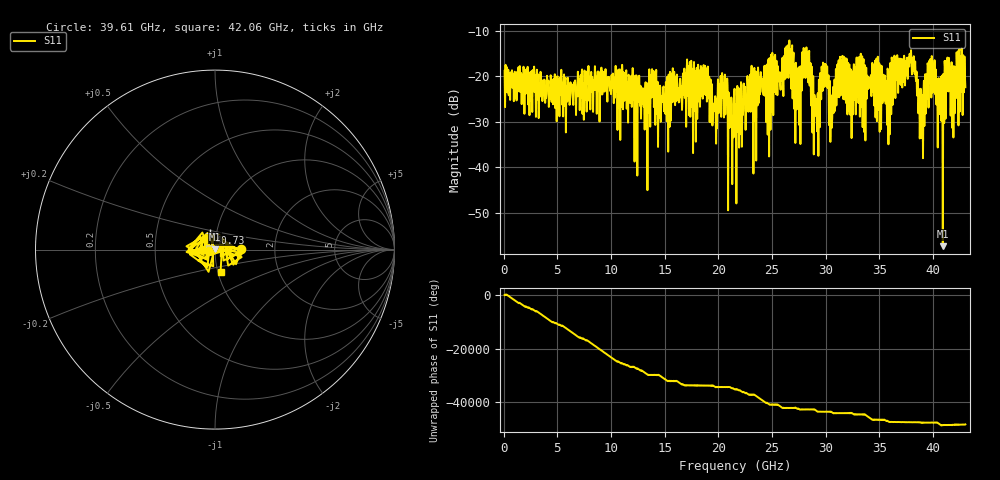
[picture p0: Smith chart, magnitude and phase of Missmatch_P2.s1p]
# Hz S RI R 50.000000
! Metas.Vna.Tools, 2.9.9438.25149
! Metas.Vna.Data, 2.9.9438.25100
! Created: UTC 2026.07.01 05:49:59
! FREQ  re:S2,2  im:S2,2
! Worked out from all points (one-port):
!   1001 points, 100 MHz to 43 GHz, reference 50 ohm
!   lowest |S11| = -57.3 dB at 40.9 GHz (marker M1), VSWR 1.00, Z = 50 + j0.133 ohm
!   |S11| at or under -10 dB: start of sweep to end of sweep
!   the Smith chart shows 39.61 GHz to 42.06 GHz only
!   S11 on the Smith chart (normalised r, x): 39.61 GHz: 1.34, +0.00; 40.73 GHz: 0.93, +0.18; 42.06 GHz: 1.03, -0.26
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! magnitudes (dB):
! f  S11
! 100 MHz  -18.8
! 5.463 GHz  -26.3
! 10.82 GHz  -18.5
! 16.19 GHz  -23.5
! 18.8 GHz  -24.1
! 19.66 GHz  -26.5
! 20.39 GHz  -24.7
! 21.12 GHz  -27.5
! 21.55 GHz  -30.2
! 22.88 GHz  -27.0
! 26.91 GHz  -24.9
! 27.51 GHz  -30.7
! 28.37 GHz  -21.4
! 29.1 GHz  -25.1
! 29.83 GHz  -22.4
! 30.52 GHz  -24.2
! 31.37 GHz  -24.2
! 32.27 GHz  -28.5
! 35.75 GHz  -18.3
! 37.64 GHz  -20.6
! 38.15 GHz  -18.8
! 38.84 GHz  -22.8
! 39.61 GHz  -16.7
! 40.73 GHz  -20.1
! 40.9 GHz  -57.3
! 41.28 GHz  -23.2
! 42.06 GHz  -18.0
! 43 GHz  -22.4
